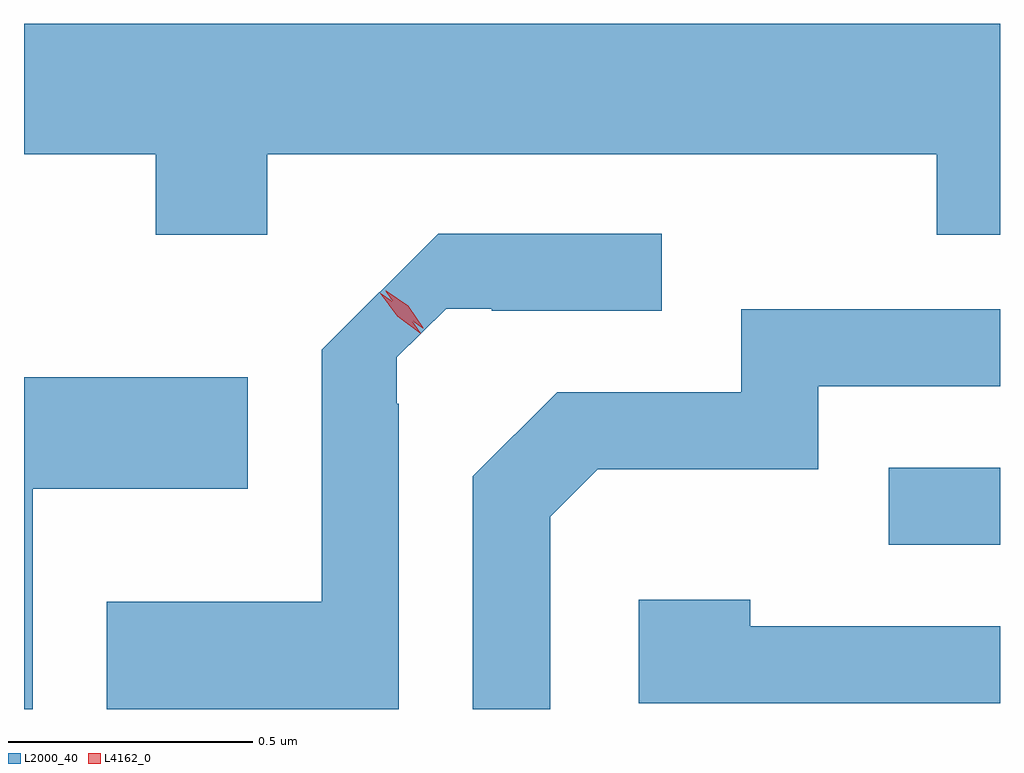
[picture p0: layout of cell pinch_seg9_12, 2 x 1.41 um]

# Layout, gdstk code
import gdstk
lib = gdstk.Library(unit=1e-6, precision=1e-09)
def R(c, l, rs):  # rectangles x0, y0, x1, y1
    for r in rs: c.add(gdstk.rectangle(r[:2], r[2:], *l))
def P(c, l, *ps):  # polygons
    for p in ps: c.add(gdstk.Polygon(p, *l))
L2000_40 = (2000, 40)
L4162_0 = (4162, 0)

pinch_seg9_12 = lib.new_cell('pinch_seg9_12')
R(pinch_seg9_12, L2000_40, [(1841.713,2079.816,1841.941,2079.974)])
P(pinch_seg9_12, L2000_40, [(1840.439,2080.616),(1841.811,2080.616),(1841.811,2080.451),(1841.941,2080.451),(1841.941,2080.884),(1839.941,2080.884),(1839.941,2080.616),(1840.211,2080.616),(1840.211,2080.451),(1840.439,2080.451)],
  [(1840.709,2080.105),(1840.705,2080.105),(1840.705,2080.2),(1840.806,2080.3),(1840.9,2080.3),(1840.9,2080.296),(1841.248,2080.296),(1841.248,2080.454),(1840.79,2080.454),(1840.551,2080.216),(1840.551,2079.699),(1840.111,2079.699),(1840.111,2079.479),(1840.709,2079.479)],
  [(1841.019,2079.874),(1841.117,2079.971),(1841.569,2079.971),(1841.569,2080.141),(1841.941,2080.141),(1841.941,2080.299),(1841.411,2080.299),(1841.411,2080.129),(1841.034,2080.129),(1840.861,2079.957),(1840.861,2079.479),(1841.019,2079.479)],
  [(1839.959,2079.931),(1840.399,2079.931),(1840.399,2080.159),(1839.941,2080.159),(1839.941,2079.479),(1839.959,2079.479)],
  [(1841.941,2079.649),(1841.429,2079.649),(1841.429,2079.704),(1841.201,2079.704),(1841.201,2079.491),(1841.941,2079.491)])
P(pinch_seg9_12, L4162_0, [(1840.754,2080.249),(1840.706,2080.284),(1840.671,2080.332),(1840.671,2080.332),(1840.672,2080.332),(1840.72,2080.298),(1840.754,2080.25),(1840.754,2080.249)],
  [(1840.758,2080.26),(1840.713,2080.292),(1840.682,2080.336),(1840.682,2080.337),(1840.683,2080.337),(1840.728,2080.306),(1840.759,2080.261),(1840.759,2080.26)])

lib.write_gds('pinch_seg9_12.gds')
